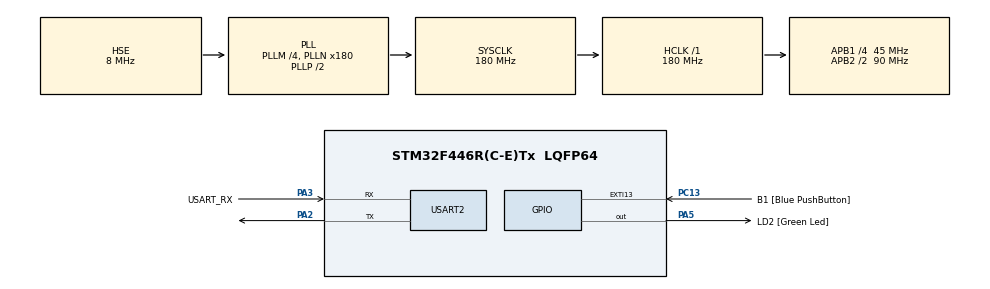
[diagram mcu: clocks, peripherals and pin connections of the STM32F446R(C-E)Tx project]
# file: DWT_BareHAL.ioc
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Mcu.Family=STM32F4
Mcu.Name=STM32F446R(C-E)Tx
Mcu.Package=LQFP64
NVIC.PriorityGroup=NVIC_PRIORITYGROUP_0
PA13.GPIO_Label=TMS
PA13.Signal=SYS_JTMS-SWDIO
PA14.GPIO_Label=TCK
PA14.Signal=SYS_JTCK-SWCLK
PA2.Mode=Asynchronous
PA2.Signal=USART2_TX
PA3.GPIO_Label=USART_RX
PA3.Mode=Asynchronous
PA3.Signal=USART2_RX
PA5.GPIO_Label=LD2 [Green Led]
PA5.Signal=GPIO_Output
PB3.GPIO_Label=SWO
PB3.Signal=SYS_JTDO-SWO
PC13.GPIO_Label=B1 [Blue PushButton]
PC13.GPIO_ModeDefaultEXTI=GPIO_MODE_IT_FALLING
PC13.Signal=GPXTI13
PC14-OSC32_IN.Signal=RCC_OSC32_IN
PC15-OSC32_OUT.Signal=RCC_OSC32_OUT
PH0-OSC_IN.Mode=HSE-External-Clock-Source
PH0-OSC_IN.Signal=RCC_OSC_IN
PH1-OSC_OUT.Mode=HSE-External-Clock-Source
PH1-OSC_OUT.Signal=RCC_OSC_OUT
ProjectManager.HeapSize=0x200
ProjectManager.StackSize=0x400
ProjectManager.TargetToolchain=STM32CubeIDE
RCC.AHBFreq_Value=180000000
RCC.APB1CLKDivider=RCC_HCLK_DIV4
RCC.APB1Freq_Value=45000000
RCC.APB1TimFreq_Value=90000000
RCC.APB2CLKDivider=RCC_HCLK_DIV2
RCC.APB2Freq_Value=90000000
RCC.APB2TimFreq_Value=180000000
RCC.CortexFreq_Value=180000000
RCC.FLatency-AdvancedSettings=FLASH_LATENCY_5
RCC.HCLKFreq_Value=180000000
RCC.HSE_VALUE=8000000
RCC.HSI_VALUE=16000000
RCC.LSE_VALUE=32768
RCC.PLLM=4
RCC.PLLN=180
RCC.PLLSourceVirtual=RCC_PLLSOURCE_HSE
RCC.SYSCLKFreq_VALUE=180000000
RCC.SYSCLKSource=RCC_SYSCLKSOURCE_PLLCLK
RCC.USBFreq_Value=180000000
RCC.VCOOutputFreq_Value=360000000
USART2.VirtualMode=VM_ASYNC
board=NUCLEO-F446RE

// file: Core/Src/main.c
/* USER CODE BEGIN Header */
/**
  ******************************************************************************
  * @file           : main.c
  * @brief          : Main program body
  ******************************************************************************
  * @attention
  *
  * Copyright (c) 2025 STMicroelectronics.
  * All rights reserved.
  *
  * This software is licensed under terms that can be found in the LICENSE file
  * in the root directory of this software component.
  * If no LICENSE file comes with this software, it is provided AS-IS.
  *
  ******************************************************************************
  */
/* USER CODE END Header */
#include "main.h"

UART_HandleTypeDef huart2;

/* USER CODE BEGIN PV */
volatile uint32_t hal_cycles;
volatile uint32_t bare_cycles;
/* USER CODE END PV */

void SystemClock_Config(void);
static void MX_GPIO_Init(void);
static void MX_USART2_UART_Init(void);

/* USER CODE BEGIN 0 */
#include <stdio.h>
int _write(int file, char *ptr, int len) {
  for (int i = 0; i < len; ++i) {
    while (!(USART2->SR & (1<<7))); // TXE
    USART2->DR = ptr[i];
  }
  return len;
}

static inline void dwt_init(void) {
    //enable tracing (unlocks DWT/ITM block)
    CoreDebug->DEMCR |= CoreDebug_DEMCR_TRCENA_Msk;

    #ifdef DWT_LAR
    DWT->LAR = 0xC5ACCE55;
    #endif

    DWT->CYCCNT = 0; //reset counter
    DWT->CTRL |= DWT_CTRL_CYCCNTENA_Msk; //start counting CPU cycles
}

static inline uint32_t measure_hal_toggle(void) {
    uint32_t start = DWT->CYCCNT;
    HAL_GPIO_TogglePin(LD2_GPIO_Port, LD2_Pin);
    return DWT->CYCCNT - start;
}

static inline uint32_t measure_bare_toggle(void) {
    uint32_t start = DWT->CYCCNT;
    LD2_GPIO_Port->ODR ^= LD2_Pin; //direct register toggle
    return DWT->CYCCNT - start;
}

/* USER CODE END 0 */

int main(void)
{

  /* MCU Configuration--------------------------------------------------------*/

  /* Reset of all peripherals, Initializes the Flash interface and the Systick. */
  HAL_Init();

  /* Configure the system clock */
  SystemClock_Config();

  /* Initialize all configured peripherals */
  MX_GPIO_Init();
  MX_USART2_UART_Init();
  /* USER CODE BEGIN 2 */
  dwt_init();
  /* USER CODE END 2 */

  /* Infinite loop */
  while (1)
  {

    /* USER CODE BEGIN 3 */
	  hal_cycles  = measure_hal_toggle();
	  bare_cycles = measure_bare_toggle();

	  (void)hal_cycles;
	  (void)bare_cycles;
	  __NOP();
	  printf("HAL: %lu cycles, Bare: %lu cycles\r\n", hal_cycles, bare_cycles);

  }
  /* USER CODE END 3 */
}

void SystemClock_Config(void)
{
  RCC_OscInitTypeDef RCC_OscInitStruct = {0};
  RCC_ClkInitTypeDef RCC_ClkInitStruct = {0};

  /** Configure the main internal regulator output voltage
  */
  __HAL_RCC_PWR_CLK_ENABLE();
  __HAL_PWR_VOLTAGESCALING_CONFIG(PWR_REGULATOR_VOLTAGE_SCALE1);

  /** Initializes the RCC Oscillators according to the specified parameters
  * in the RCC_OscInitTypeDef structure.
  */
  RCC_OscInitStruct.OscillatorType = RCC_OSCILLATORTYPE_HSE;
  RCC_OscInitStruct.HSEState = RCC_HSE_BYPASS;
  RCC_OscInitStruct.PLL.PLLState = RCC_PLL_ON;
  RCC_OscInitStruct.PLL.PLLSource = RCC_PLLSOURCE_HSE;
  RCC_OscInitStruct.PLL.PLLM = 4;
  RCC_OscInitStruct.PLL.PLLN = 180;
  RCC_OscInitStruct.PLL.PLLP = RCC_PLLP_DIV2;
  RCC_OscInitStruct.PLL.PLLQ = 2;
  RCC_OscInitStruct.PLL.PLLR = 2;
  if (HAL_RCC_OscConfig(&RCC_OscInitStruct) != HAL_OK)
  {
    Error_Handler();
  }

  /** Activate the Over-Drive mode
  */
  if (HAL_PWREx_EnableOverDrive() != HAL_OK)
  {
    Error_Handler();
  }

  /** Initializes the CPU, AHB and APB buses clocks
  */
  RCC_ClkInitStruct.ClockType = RCC_CLOCKTYPE_HCLK|RCC_CLOCKTYPE_SYSCLK
                              |RCC_CLOCKTYPE_PCLK1|RCC_CLOCKTYPE_PCLK2;
  RCC_ClkInitStruct.SYSCLKSource = RCC_SYSCLKSOURCE_PLLCLK;
  RCC_ClkInitStruct.AHBCLKDivider = RCC_SYSCLK_DIV1;
  RCC_ClkInitStruct.APB1CLKDivider = RCC_HCLK_DIV4;
  RCC_ClkInitStruct.APB2CLKDivider = RCC_HCLK_DIV2;

  if (HAL_RCC_ClockConfig(&RCC_ClkInitStruct, FLASH_LATENCY_5) != HAL_OK)
  {
    Error_Handler();
  }
}

static void MX_USART2_UART_Init(void)
{

  huart2.Instance = USART2;
  huart2.Init.BaudRate = 115200;
  huart2.Init.WordLength = UART_WORDLENGTH_8B;
  huart2.Init.StopBits = UART_STOPBITS_1;
  huart2.Init.Parity = UART_PARITY_NONE;
  huart2.Init.Mode = UART_MODE_TX_RX;
  huart2.Init.HwFlowCtl = UART_HWCONTROL_NONE;
  huart2.Init.OverSampling = UART_OVERSAMPLING_16;
  if (HAL_UART_Init(&huart2) != HAL_OK)
  {
    Error_Handler();
  }

}

static void MX_GPIO_Init(void)
{
  GPIO_InitTypeDef GPIO_InitStruct = {0};

  /* GPIO Ports Clock Enable */
  __HAL_RCC_GPIOC_CLK_ENABLE();
  __HAL_RCC_GPIOH_CLK_ENABLE();
  __HAL_RCC_GPIOA_CLK_ENABLE();
  __HAL_RCC_GPIOB_CLK_ENABLE();

  /*Configure GPIO pin Output Level */
  HAL_GPIO_WritePin(LD2_GPIO_Port, LD2_Pin, GPIO_PIN_RESET);

  /*Configure GPIO pin : B1_Pin */
  GPIO_InitStruct.Pin = B1_Pin;
  GPIO_InitStruct.Mode = GPIO_MODE_IT_FALLING;
  GPIO_InitStruct.Pull = GPIO_NOPULL;
  HAL_GPIO_Init(B1_GPIO_Port, &GPIO_InitStruct);

  /*Configure GPIO pin : LD2_Pin */
  GPIO_InitStruct.Pin = LD2_Pin;
  GPIO_InitStruct.Mode = GPIO_MODE_OUTPUT_PP;
  GPIO_InitStruct.Pull = GPIO_NOPULL;
  GPIO_InitStruct.Speed = GPIO_SPEED_FREQ_LOW;
  HAL_GPIO_Init(LD2_GPIO_Port, &GPIO_InitStruct);

}

void Error_Handler(void)
{
  __disable_irq();
  while (1)
  {
  }
}
